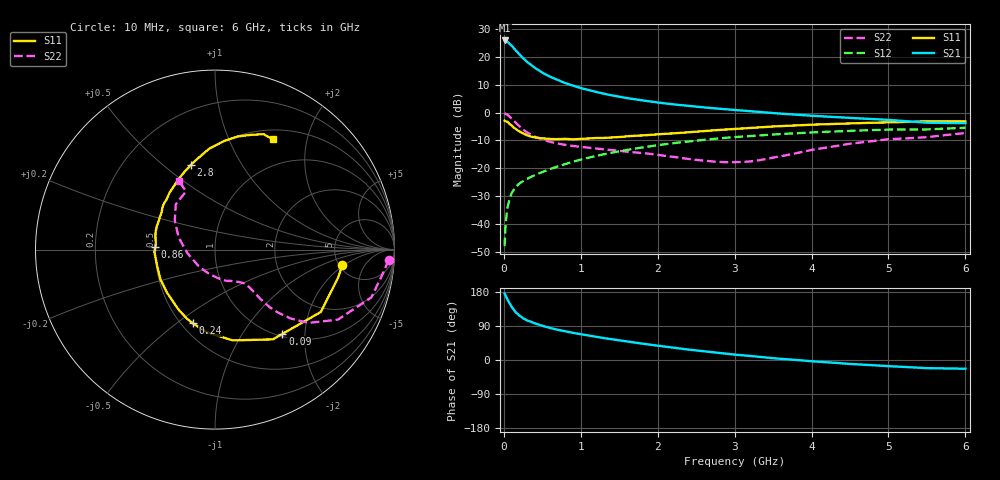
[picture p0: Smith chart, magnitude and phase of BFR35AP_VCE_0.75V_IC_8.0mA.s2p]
! Infineon Technologies  Discrete & RF Semiconductors
! BFR35AP
! VCE = 0.75 V,  IC =  8.0 mA
! Common Emitter S-Parameters:  Nov 2015
# GHz  S  MA  R  50
!  f  S11  S21  S12  S22
! GHz  MAG  ANG  MAG  ANG  MAG  ANG  MAG  ANG
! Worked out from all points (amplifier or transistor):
!   210 points, 10 MHz to 6 GHz, reference 50 ohm
!   highest |S21| = 25.9 dB at 10 MHz (marker M1)
!   |S21| within 3 dB of that: start of sweep to 136.2 MHz
!   unconditionally stable (mu >= 1): 508.8 MHz to end of sweep
!   at 185 MHz: K = 0.54, MSG = 23.7 dB, |S12| = -25.9 dB
!   at 1.52 GHz: K = 1.19, MAG = 7.1 dB, |S12| = -13.8 dB
!   at 6 GHz: K = 1.05, MAG = -0.6 dB, |S12| = -5.4 dB
!   S11 on the Smith chart (normalised r, x): 10 MHz: 5.37, -1.83; 90 MHz: 1.05, -1.54; 240 MHz: 0.57, -0.57; 860 MHz: 0.50, +0.01; 2.8 GHz: 0.50, +0.62; 6 GHz: 0.62, +1.46
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0.01  0.7149 -6.7  19.74 175.5  0.004 85.8  0.9685 -3.4
0.02  0.7041 -12.7  19.55 170.8  0.0085 84.6  0.9507 -7.0
0.05  0.6846 -30.5  18.63 158.1  0.0204 75.2  0.9109 -17.0
0.09  0.6014 -51.3  16.41 144.3  0.0324 65.9  0.809 -26.9
0.1  0.5949 -57.2  16.02 140.3  0.0355 64.6  0.7878 -29.7
0.15  0.5155 -78.9  13.31 126.7  0.0455 58.5  0.6637 -38.0
0.2  0.4634 -95.4  11.18 117.5  0.053 55.8  0.5705 -42.3
0.24  0.4289 -106.7  9.795 111.7  0.0577 54.6  0.5109 -44.4
0.26  0.416 -111.8  9.204 109.0  0.06 54.3  0.4852 -45.3
0.3  0.3934 -120.5  8.182 104.6  0.0644 54.3  0.4419 -46.5
0.4  0.3597 -138.0  6.411 96.7  0.0753 54.8  0.3721 -47.4
0.5  0.3464 -151.4  5.208 90.0  0.0856 55.8  0.3276 -47.4
0.7  0.3341 -171.0  3.84 79.6  0.1078 57.3  0.2779 -47.8
0.86  0.3333 177.8  3.17 73.3  0.1269 57.5  0.2557 -48.6
1.02  0.3404 167.3  2.714 67.2  0.1455 57.1  0.2409 -50.3
1.4  0.3581 148.8  2.043 54.8  0.1905 54.6  0.2126 -57.2
2.02  0.4095 127.1  1.508 37.2  0.2621 48.0  0.1726 -75.7
2.8  0.4887 106.2  1.175 18.6  0.3449 37.8  0.1304 -119.5
3.1  0.5186 100.3  1.083 12.5  0.3716 33.3  0.1298 -143.8
4.1  0.6134 83.9  0.863 -4.6  0.447 19.4  0.2246 157.2
5.1  0.6734 71.8  0.723 -17.2  0.4957 6.0  0.3374 127.9
6  0.6939 62.5  0.646 -23.0  0.5347 -3.2  0.4301 117.7
